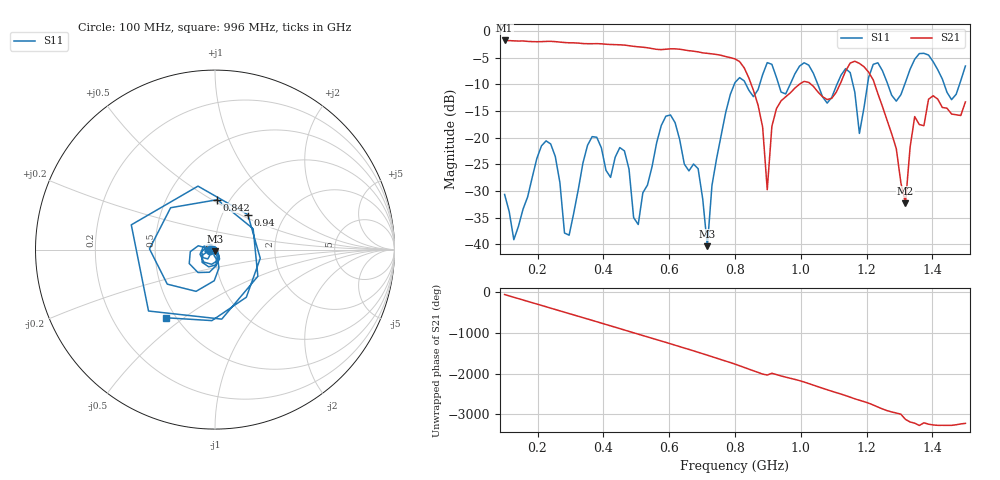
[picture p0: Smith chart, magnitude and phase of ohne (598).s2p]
! NanoVNA-App
! Date: 2025-09-25 14:25:27
! Start: 100MHz Stop: 1,5GHz Points: 101
! S-Parameter data: F S11 S21 S12 S22
# Hz S RI R 50
!  Frequency  S11_Real  S11_Imag  S21_Real  S21_Imag  S12_Real  S12_Imag  S22_Real  S22_Imag
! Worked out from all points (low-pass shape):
!   101 points, 100 MHz to 1.5 GHz, reference 50 ohm
!   highest |S21| = -1.79 dB at 100 MHz (marker M1); lowest = -32.3 dB at 1.318 GHz (marker M2)
!   |S21| within 3 dB of the highest: start of sweep to 770.7 MHz
!   lowest |S11| = -40.3 dB at 716 MHz (marker M3), VSWR 1.02, Z = 49.8 - j0.943 ohm
!   |S11| at or under -10 dB: start of sweep to 797.9 MHz; 833.1 MHz to 875 MHz (41.97 MHz wide, 4.91 % of centre); 1.052 GHz to 1.11 GHz (58.42 MHz wide, 5.41 % of centre) (the widest 3 of 7)
!   S12 and S22 are empty: the file has one direction only
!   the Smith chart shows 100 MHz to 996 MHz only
!   S11 on the Smith chart (normalised r, x): 100 MHz: 0.94, -0.01; 842 MHz: 0.88, +0.53; 940 MHz: 1.32, +0.55; 996 MHz: 0.44, -0.43
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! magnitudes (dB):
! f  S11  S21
! 100 MHz  -30.6  -1.8
! 128 MHz  -39.1  -1.9
! 226 MHz  -20.6  -2.0
! 296 MHz  -38.3  -2.2
! 338 MHz  -24.7  -2.4
! 464 MHz  -22.5  -2.7
! 506 MHz  -36.3  -3.0
! 576 MHz  -17.7  -3.5
! 688 MHz  -25.8  -3.9
! 716 MHz  -40.3  -4.2
! 800 MHz  -9.7  -5.3
! 842 MHz  -11.1  -8.8
! 898 MHz  -5.9  -29.7
! 940 MHz  -11.5  -13.1
! 996 MHz  -6.6  -10.0
! 1.038 GHz  -7.9  -10.4
! 1.178 GHz  -19.2  -6.1
! 1.22 GHz  -6.3  -9.2
! 1.276 GHz  -12.1  -19.3
! 1.318 GHz  -9.6  -32.3
! 1.346 GHz  -5.3  -16.1
! 1.5 GHz  -6.6  -13.3
